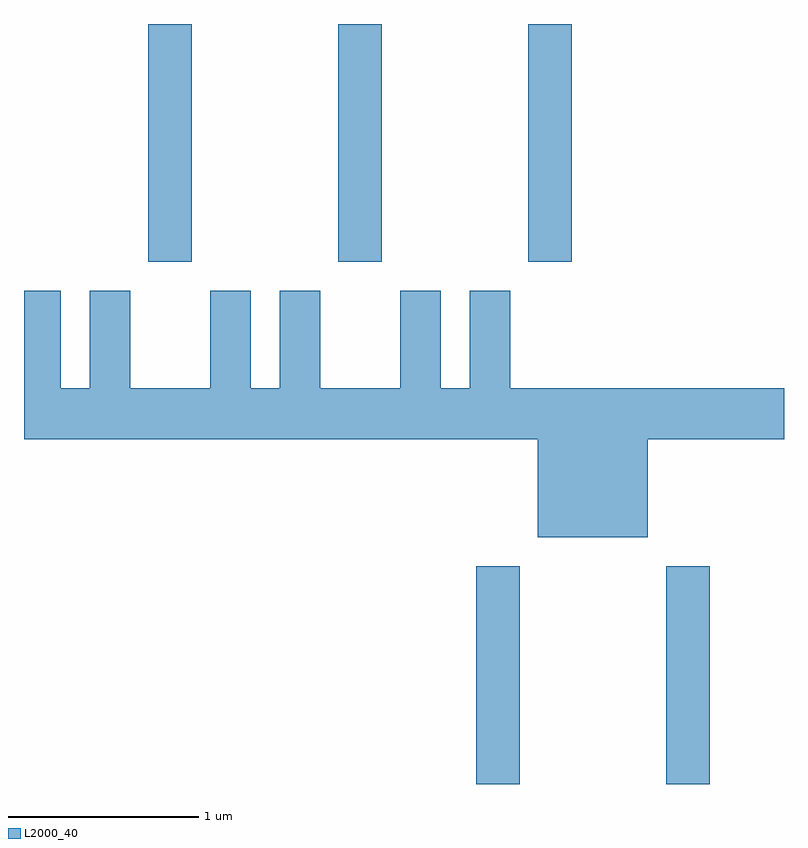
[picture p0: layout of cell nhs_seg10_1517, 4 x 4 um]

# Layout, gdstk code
import gdstk
lib = gdstk.Library(unit=1e-6, precision=1e-09)
def R(c, l, rs):  # rectangles x0, y0, x1, y1
    for r in rs: c.add(gdstk.rectangle(r[:2], r[2:], *l))
def A(c, l, x, y, w, h, nx, ny, dx, dy):  # array of equal rectangles
    R(c, l, [(x+i*dx, y+j*dy, x+i*dx+w, y+j*dy+h) for i in range(nx) for j in range(ny)])
def P(c, l, *ps):  # polygons
    for p in ps: c.add(gdstk.Polygon(p, *l))
L2000_40 = (2000, 40)

nhs_seg10_1517 = lib.new_cell('nhs_seg10_1517')
A(nhs_seg10_1517, L2000_40, 230.266, 2139.271, 0.228, 1.251, 3, 1, 1, 0)
R(nhs_seg10_1517, L2000_40, [(231.991,2136.522,232.219,2137.669), (232.991,2136.522,233.219,2137.669)])
P(nhs_seg10_1517, L2000_40, [(232.894,2138.336),(233.611,2138.336),(233.611,2138.604),(232.169,2138.604),(232.169,2139.119),(231.956,2139.119),(231.956,2138.604),(231.804,2138.604),(231.804,2139.119),(231.591,2139.119),(231.591,2138.604),(231.169,2138.604),(231.169,2139.119),(230.956,2139.119),(230.956,2138.604),(230.804,2138.604),(230.804,2139.119),(230.591,2139.119),(230.591,2138.604),(230.169,2138.604),(230.169,2139.119),(229.956,2139.119),(229.956,2138.604),(229.804,2138.604),(229.804,2139.119),(229.611,2139.119),(229.611,2138.336),(232.316,2138.336),(232.316,2137.821),(232.894,2137.821)])

lib.write_gds('nhs_seg10_1517.gds')
